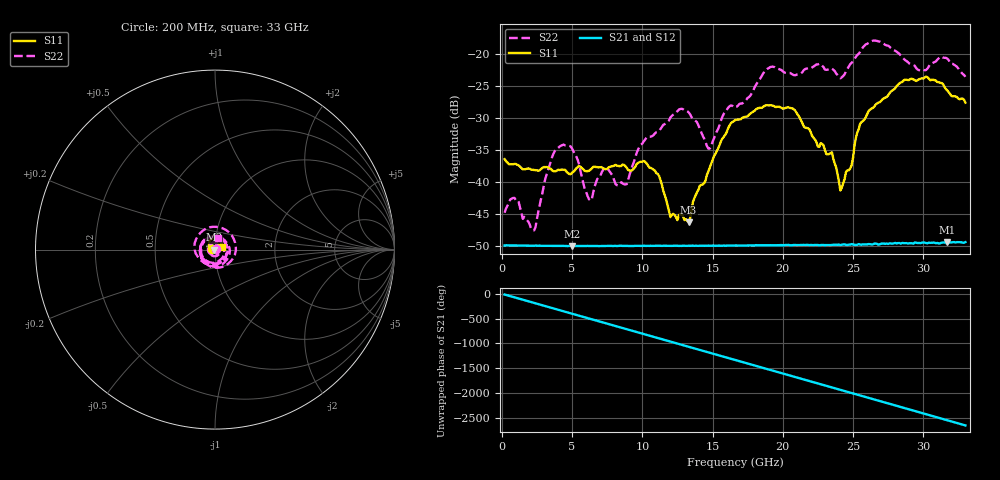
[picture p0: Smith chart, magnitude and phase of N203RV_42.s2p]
# GHZ S RI R 50
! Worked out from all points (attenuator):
!   329 points, 200 MHz to 33 GHz, reference 50 ohm
!   highest |S21| = -49.43 dB at 31.7 GHz (marker M1); lowest = -50.1 dB at 5 GHz (marker M2)
!   lowest |S11| = -46.3 dB at 13.3 GHz (marker M3), VSWR 1.01, Z = 49.5 + j0.00792 ohm
!   |S11| at or under -10 dB: start of sweep to end of sweep
!   |S22| runs from -47.6 to -17.9 dB; largest |S21 - S12| = 7.2e-05
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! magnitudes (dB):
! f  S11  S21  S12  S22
! 200 MHz  -36.4  -50.0  -49.9  -44.8
! 900 MHz  -37.2  -50.0  -50.0  -42.5
! 2.3 GHz  -38.2  -50.0  -50.0  -47.6
! 3.7 GHz  -38.4  -50.0  -50.0  -35.5
! 5 GHz  -38.6  -50.1  -50.1  -34.8
! 5.7 GHz  -37.9  -50.1  -50.0  -39.2
! 6.3 GHz  -38.1  -50.1  -50.0  -42.9
! 7.4 GHz  -38.0  -50.1  -50.1  -37.6
! 8.9 GHz  -37.8  -50.1  -50.0  -40.3
! 11.2 GHz  -39.1  -50.0  -50.0  -32.0
! 12 GHz  -45.5  -50.0  -50.0  -29.9
! 13.3 GHz  -46.3  -50.0  -50.0  -29.1
! 14.8 GHz  -37.8  -50.0  -50.0  -34.8
! 16.6 GHz  -30.3  -50.0  -50.0  -28.3
! 20.4 GHz  -28.3  -49.9  -49.9  -22.9
! 22.1 GHz  -32.9  -49.9  -49.9  -22.1
! 23.5 GHz  -35.4  -49.9  -49.9  -22.2
! 24.1 GHz  -41.4  -49.9  -49.8  -23.8
! 25.5 GHz  -31.0  -49.8  -49.8  -19.7
! 27.6 GHz  -26.1  -49.6  -49.7  -18.8
! 31.7 GHz  -25.7  -49.4  -49.6  -20.7
! 33 GHz  -27.6  -49.5  -49.5  -23.5
